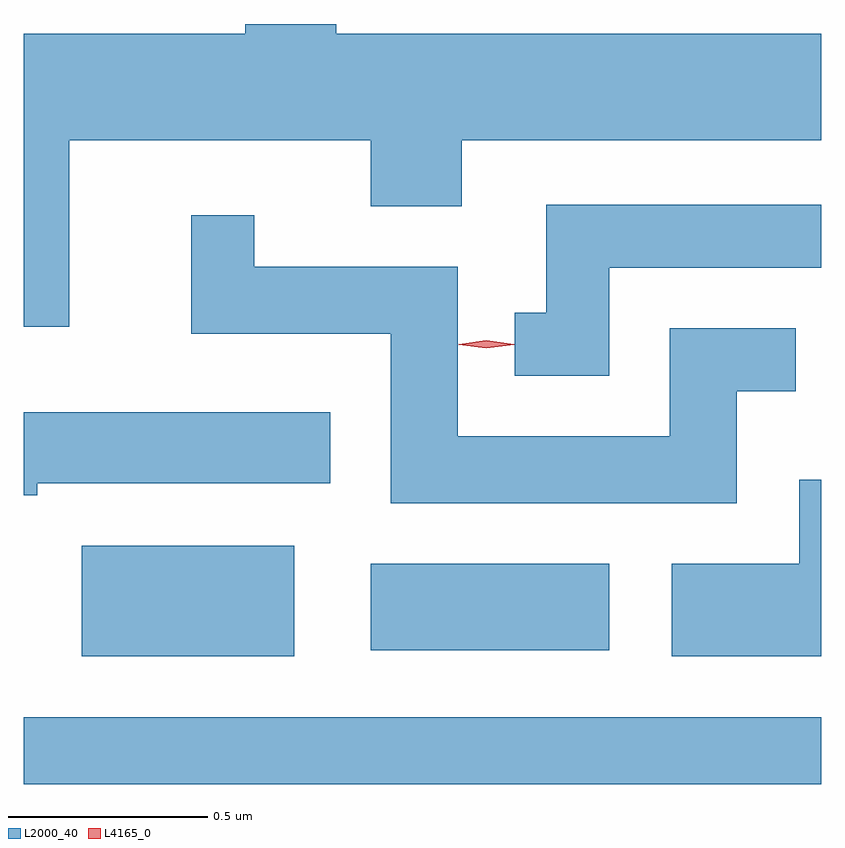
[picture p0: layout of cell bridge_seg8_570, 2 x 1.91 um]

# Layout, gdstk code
import gdstk
lib = gdstk.Library(unit=1e-6, precision=1e-09)
def R(c, l, rs):  # rectangles x0, y0, x1, y1
    for r in rs: c.add(gdstk.rectangle(r[:2], r[2:], *l))
def P(c, l, *ps):  # polygons
    for p in ps: c.add(gdstk.Polygon(p, *l))
L2000_40 = (2000, 40)
L4165_0 = (4165, 0)

bridge_seg8_570 = lib.new_cell('bridge_seg8_570')
R(bridge_seg8_570, L2000_40, [(580.311,1819.261,582.311,1819.429), (580.456,1819.581,580.989,1819.859), (581.181,1819.596,581.779,1819.814)])
P(bridge_seg8_570, L2000_40, [(580.424,1820.876),(581.181,1820.876),(581.181,1820.711),(581.409,1820.711),(581.409,1820.876),(582.311,1820.876),(582.311,1821.144),(581.094,1821.144),(581.094,1821.168),(580.866,1821.168),(580.866,1821.144),(580.311,1821.144),(580.311,1820.408),(580.424,1820.408)],
  [(581.779,1820.556),(582.311,1820.556),(582.311,1820.714),(581.621,1820.714),(581.621,1820.444),(581.543,1820.444),(581.543,1820.286),(581.779,1820.286)],
  [(582.099,1820.246),(582.248,1820.246),(582.248,1820.404),(581.931,1820.404),(581.931,1820.134),(581.399,1820.134),(581.399,1820.559),(580.889,1820.559),(580.889,1820.688),(580.731,1820.688),(580.731,1820.391),(581.231,1820.391),(581.231,1819.966),(582.099,1819.966)],
  [(580.344,1820.016),(581.079,1820.016),(581.079,1820.194),(580.311,1820.194),(580.311,1819.986),(580.344,1819.986)],
  [(582.311,1820.024),(582.256,1820.024),(582.256,1819.814),(581.936,1819.814),(581.936,1819.581),(582.311,1819.581)])
P(bridge_seg8_570, L4165_0, [(581.471,1820.354),(581.402,1820.363),(581.402,1820.363),(581.402,1820.364),(581.471,1820.374),(581.541,1820.364),(581.541,1820.364),(581.541,1820.363)])

lib.write_gds('bridge_seg8_570.gds')
